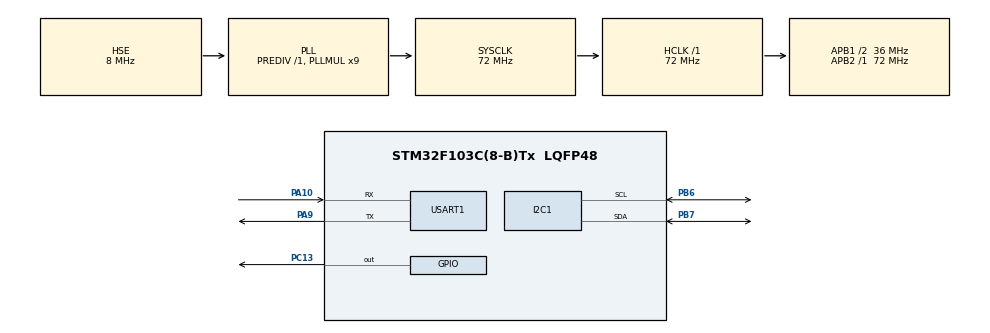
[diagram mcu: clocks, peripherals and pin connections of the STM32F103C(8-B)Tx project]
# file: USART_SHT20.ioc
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Mcu.Family=STM32F1
Mcu.Name=STM32F103C(8-B)Tx
Mcu.Package=LQFP48
NVIC.PriorityGroup=NVIC_PRIORITYGROUP_4
NVIC.USART1_IRQn=true\:0\:0\:false\:false\:true\:true\:true
PA10.Mode=Asynchronous
PA10.Signal=USART1_RX
PA13.Mode=Serial_Wire
PA13.Signal=SYS_JTMS-SWDIO
PA14.Mode=Serial_Wire
PA14.Signal=SYS_JTCK-SWCLK
PA9.Mode=Asynchronous
PA9.Signal=USART1_TX
PB6.Mode=I2C
PB6.Signal=I2C1_SCL
PB7.Mode=I2C
PB7.Signal=I2C1_SDA
PC13-TAMPER-RTC.GPIO_PuPd=GPIO_NOPULL
PC13-TAMPER-RTC.PinState=GPIO_PIN_SET
PC13-TAMPER-RTC.Signal=GPIO_Output
PD0-OSC_IN.Mode=HSE-External-Oscillator
PD0-OSC_IN.Signal=RCC_OSC_IN
PD1-OSC_OUT.Mode=HSE-External-Oscillator
PD1-OSC_OUT.Signal=RCC_OSC_OUT
ProjectManager.HeapSize=0x200
ProjectManager.StackSize=0x400
ProjectManager.TargetToolchain=MDK-ARM V5
RCC.AHBFreq_Value=72000000
RCC.APB1CLKDivider=RCC_HCLK_DIV2
RCC.APB1Freq_Value=36000000
RCC.APB1TimFreq_Value=72000000
RCC.APB2Freq_Value=72000000
RCC.APB2TimFreq_Value=72000000
RCC.HCLKFreq_Value=72000000
RCC.PLLMUL=RCC_PLL_MUL9
RCC.PLLSourceVirtual=RCC_PLLSOURCE_HSE
RCC.SYSCLKFreq_VALUE=72000000
RCC.SYSCLKSource=RCC_SYSCLKSOURCE_PLLCLK
RCC.USBFreq_Value=72000000
USART1.VirtualMode=VM_ASYNC
board=custom

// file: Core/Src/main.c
/* USER CODE BEGIN Header */
/**
  ******************************************************************************
  * @file           : main.c
  * @brief          : Main program body
  ******************************************************************************
  * @attention
  *
  * Copyright (c) 2022 STMicroelectronics.
  * All rights reserved.
  *
  * This software is licensed under terms that can be found in the LICENSE file
  * in the root directory of this software component.
  * If no LICENSE file comes with this software, it is provided AS-IS.
  *
  ******************************************************************************
  */
/* USER CODE END Header */
#include "main.h"
#include "i2c.h"
#include "usart.h"
#include "gpio.h"

/* USER CODE BEGIN Includes */
#include <stdio.h>
#include <string.h>
#include "SHT30_I2C_Driver.h"
/* USER CODE END Includes */

/* USER CODE BEGIN PV */
uint8_t I2CRXBuffer[6];
/* USER CODE END PV */

void SystemClock_Config(void);

int main(void)
{
  /* USER CODE BEGIN 1 */
  int x=0;
  uint8_t Error = 0;
  float Temperature = 0,Humidity = 0;
  /* USER CODE END 1 */

  /* MCU Configuration--------------------------------------------------------*/

  /* Reset of all peripherals, Initializes the Flash interface and the Systick. */
  HAL_Init();

  /* USER CODE BEGIN Init */
  memset(I2CRXBuffer,0,sizeof(I2CRXBuffer));
  /* USER CODE END Init */

  /* Configure the system clock */
  SystemClock_Config();

  /* Initialize all configured peripherals */
  MX_GPIO_Init();
  MX_I2C1_Init();
  MX_USART1_UART_Init();

  /* Infinite loop */
  /* USER CODE BEGIN WHILE */
  while (1)
  {
    if(SHT30_ValGet(I2CRXBuffer) == HAL_OK)
    {
      Error = SHT30_Dat_To_Float(I2CRXBuffer,&Temperature,&Humidity);
      if (!Error)
      {
        HAL_GPIO_WritePin(GPIOC,GPIO_PIN_13,GPIO_PIN_SET);
        printf("Temperature:%.2fC,Humidity:%.2f%%\r\n",Temperature,Humidity);
        HAL_Delay(500);
        HAL_GPIO_WritePin(GPIOC,GPIO_PIN_13,GPIO_PIN_RESET);
        HAL_Delay(2000);

      }
      else
      {
        printf("CRC Error\r\n");

        for (x=0;x<=4;x++)
        {
          HAL_Delay(300);
          HAL_GPIO_TogglePin(GPIOC,GPIO_PIN_13);
        }
      }
    }
    // else
    // {
    //   printf("SHT30_ValGet Error\r\n");
    // }

    /* USER CODE END WHILE */

  }
}

void SystemClock_Config(void)
{
  RCC_OscInitTypeDef RCC_OscInitStruct = {0};
  RCC_ClkInitTypeDef RCC_ClkInitStruct = {0};

  /** Initializes the RCC Oscillators according to the specified parameters
  * in the RCC_OscInitTypeDef structure.
  */
  RCC_OscInitStruct.OscillatorType = RCC_OSCILLATORTYPE_HSE;
  RCC_OscInitStruct.HSEState = RCC_HSE_ON;
  RCC_OscInitStruct.HSEPredivValue = RCC_HSE_PREDIV_DIV1;
  RCC_OscInitStruct.HSIState = RCC_HSI_ON;
  RCC_OscInitStruct.PLL.PLLState = RCC_PLL_ON;
  RCC_OscInitStruct.PLL.PLLSource = RCC_PLLSOURCE_HSE;
  RCC_OscInitStruct.PLL.PLLMUL = RCC_PLL_MUL9;
  if (HAL_RCC_OscConfig(&RCC_OscInitStruct) != HAL_OK)
  {
    Error_Handler();
  }
  /** Initializes the CPU, AHB and APB buses clocks
  */
  RCC_ClkInitStruct.ClockType = RCC_CLOCKTYPE_HCLK|RCC_CLOCKTYPE_SYSCLK
                              |RCC_CLOCKTYPE_PCLK1|RCC_CLOCKTYPE_PCLK2;
  RCC_ClkInitStruct.SYSCLKSource = RCC_SYSCLKSOURCE_PLLCLK;
  RCC_ClkInitStruct.AHBCLKDivider = RCC_SYSCLK_DIV1;
  RCC_ClkInitStruct.APB1CLKDivider = RCC_HCLK_DIV2;
  RCC_ClkInitStruct.APB2CLKDivider = RCC_HCLK_DIV1;

  if (HAL_RCC_ClockConfig(&RCC_ClkInitStruct, FLASH_LATENCY_2) != HAL_OK)
  {
    Error_Handler();
  }
}

void Error_Handler(void)
{
  __disable_irq();
  while (1)
  {
  }
}
